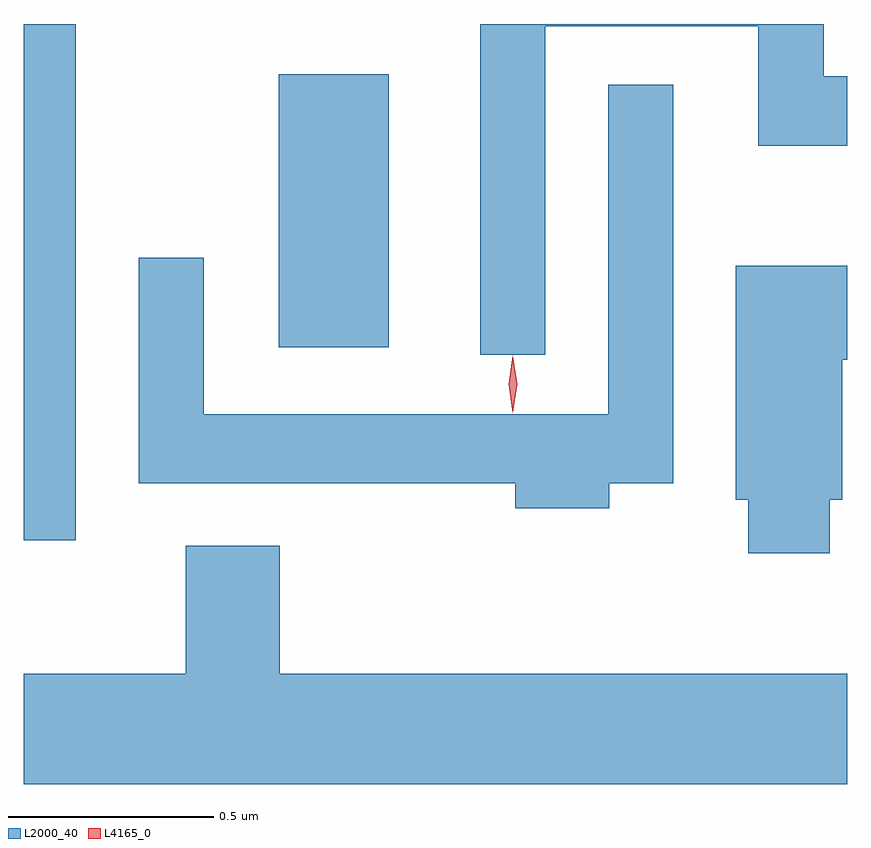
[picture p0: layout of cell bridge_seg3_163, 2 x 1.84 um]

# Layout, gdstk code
import gdstk
lib = gdstk.Library(unit=1e-6, precision=1e-09)
def R(c, l, rs):  # rectangles x0, y0, x1, y1
    for r in rs: c.add(gdstk.rectangle(r[:2], r[2:], *l))
def P(c, l, *ps):  # polygons
    for p in ps: c.add(gdstk.Polygon(p, *l))
L2000_40 = (2000, 40)
L4165_0 = (4165, 0)

bridge_seg3_163 = lib.new_cell('bridge_seg3_163')
R(bridge_seg3_163, L2000_40, [(888.787,1188.768,888.914,1190.021), (889.406,1189.236,889.674,1189.899)])
P(bridge_seg3_163, L2000_40, [(890.054,1190.016),(890.571,1190.016),(890.571,1189.726),(890.787,1189.726),(890.787,1189.894),(890.729,1189.894),(890.729,1190.021),(889.896,1190.021),(889.896,1189.218),(890.054,1189.218)],
  [(890.209,1188.906),(890.364,1188.906),(890.364,1189.873),(890.206,1189.873),(890.206,1189.074),(889.224,1189.074),(889.224,1189.453),(889.066,1189.453),(889.066,1188.906),(889.981,1188.906),(889.981,1188.846),(890.209,1188.846)],
  [(890.744,1188.866),(890.774,1188.866),(890.774,1189.206),(890.787,1189.206),(890.787,1189.434),(890.516,1189.434),(890.516,1188.866),(890.546,1188.866),(890.546,1188.736),(890.744,1188.736)],
  [(890.787,1188.444),(889.409,1188.444),(889.409,1188.754),(889.181,1188.754),(889.181,1188.444),(888.787,1188.444),(888.787,1188.176),(890.787,1188.176)])
P(bridge_seg3_163, L4165_0, [(889.974,1189.077),(889.965,1189.146),(889.974,1189.216),(889.975,1189.216),(889.975,1189.216),(889.985,1189.146),(889.975,1189.077),(889.975,1189.077)],
  [(889.975,1189.079),(889.974,1189.08),(889.965,1189.146),(889.974,1189.212),(889.975,1189.213),(889.975,1189.212),(889.985,1189.146),(889.975,1189.08)])

lib.write_gds('bridge_seg3_163.gds')
